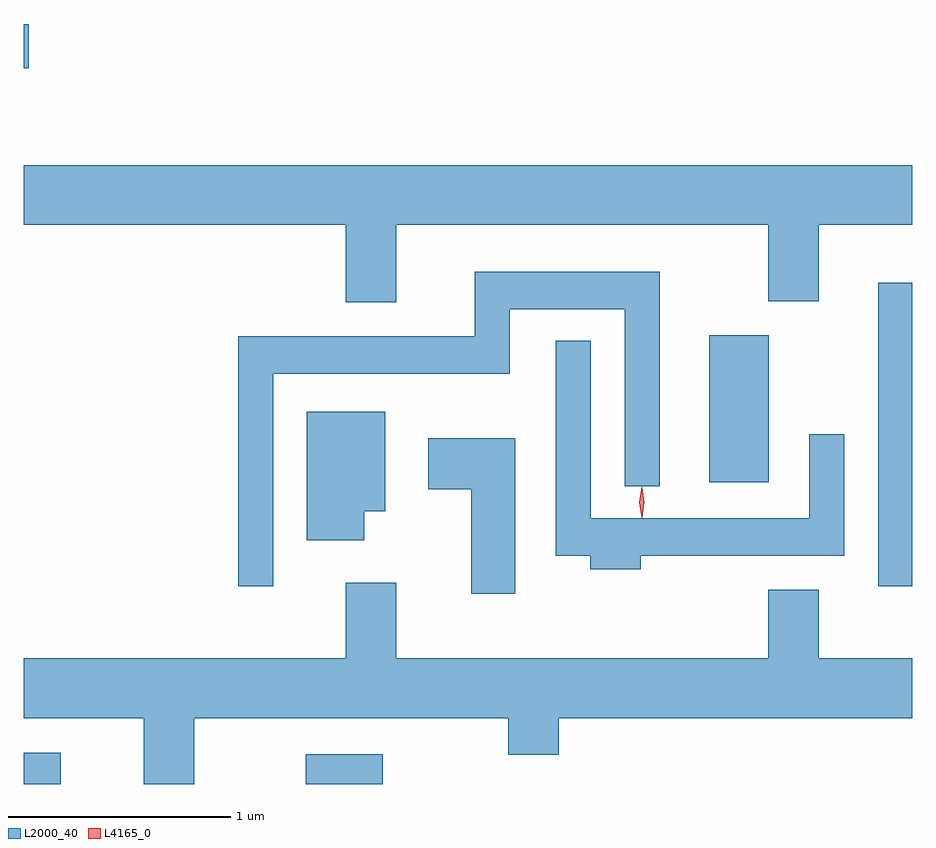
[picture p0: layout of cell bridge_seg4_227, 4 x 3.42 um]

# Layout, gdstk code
import gdstk
lib = gdstk.Library(unit=1e-6, precision=1e-09)
def R(c, l, rs):  # rectangles x0, y0, x1, y1
    for r in rs: c.add(gdstk.rectangle(r[:2], r[2:], *l))
def P(c, l, *ps):  # polygons
    for p in ps: c.add(gdstk.Polygon(p, *l))
L2000_40 = (2000, 40)
L4165_0 = (4165, 0)

bridge_seg4_227 = lib.new_cell('bridge_seg4_227')
R(bridge_seg4_227, L2000_40, [(1081.671,1254.479,1081.838,1254.619), (1082.941,1254.479,1083.288,1254.614), (1085.516,1255.368,1085.671,1256.734), (1084.756,1255.836,1085.024,1256.499), (1081.671,1257.701,1081.694,1257.899)])
P(bridge_seg4_227, L2000_40, [(1083.349,1256.996),(1085.021,1256.996),(1085.021,1256.651),(1085.249,1256.651),(1085.249,1256.996),(1085.671,1256.996),(1085.671,1257.264),(1081.671,1257.264),(1081.671,1256.996),(1083.121,1256.996),(1083.121,1256.646),(1083.349,1256.646)],
  [(1082.794,1256.326),(1083.859,1256.326),(1083.859,1256.616),(1084.376,1256.616),(1084.376,1255.818),(1084.534,1255.818),(1084.534,1256.784),(1083.701,1256.784),(1083.701,1256.494),(1082.636,1256.494),(1082.636,1255.368),(1082.794,1255.368)],
  [(1084.449,1255.506),(1085.364,1255.506),(1085.364,1256.053),(1085.206,1256.053),(1085.206,1255.674),(1084.224,1255.674),(1084.224,1256.473),(1084.066,1256.473),(1084.066,1255.506),(1084.221,1255.506),(1084.221,1255.446),(1084.449,1255.446)],
  [(1083.204,1255.706),(1083.299,1255.706),(1083.299,1256.154),(1082.946,1256.154),(1082.946,1255.576),(1083.204,1255.576)],
  [(1083.884,1256.034),(1083.491,1256.034),(1083.491,1255.806),(1083.686,1255.806),(1083.686,1255.336),(1083.884,1255.336)],
  [(1082.439,1254.776),(1083.851,1254.776),(1083.851,1254.611),(1084.079,1254.611),(1084.079,1254.776),(1085.671,1254.776),(1085.671,1255.044),(1085.249,1255.044),(1085.249,1255.354),(1085.021,1255.354),(1085.021,1255.044),(1083.349,1255.044),(1083.349,1255.384),(1083.121,1255.384),(1083.121,1255.044),(1081.671,1255.044),(1081.671,1254.776),(1082.211,1254.776),(1082.211,1254.479),(1082.439,1254.479)])
P(bridge_seg4_227, L4165_0, [(1084.452,1255.677),(1084.452,1255.677),(1084.442,1255.747),(1084.452,1255.816),(1084.452,1255.816),(1084.453,1255.816),(1084.462,1255.747),(1084.453,1255.677)],
  [(1084.456,1255.679),(1084.455,1255.68),(1084.446,1255.746),(1084.455,1255.812),(1084.455,1255.813),(1084.456,1255.812),(1084.465,1255.746),(1084.456,1255.68)])

lib.write_gds('bridge_seg4_227.gds')
